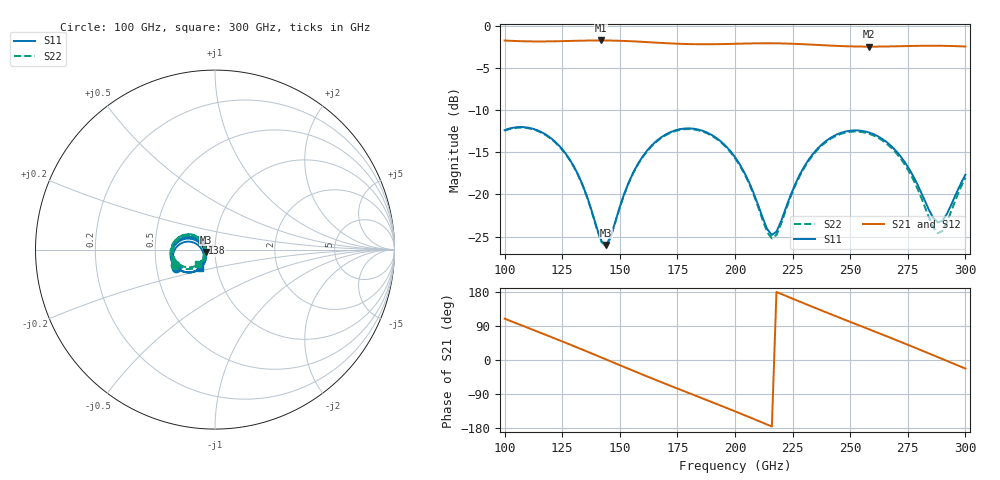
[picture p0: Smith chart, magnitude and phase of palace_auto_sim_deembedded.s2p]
! Created with skrf 1.11.0 (http://scikit-rf.org).
# GHz S DB R 50.0
!freq dBS11 angS11 dBS21 angS21 dBS12 angS12 dBS22 angS22
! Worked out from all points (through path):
!   101 points, 100 GHz to 300 GHz, reference 50 ohm
!   highest |S21| = -1.76 dB at 142 GHz (marker M1); lowest = -2.5 dB at 258 GHz (marker M2)
!   group delay of S21, straight-line fit = 6.83 ps
!   lowest |S11| = -26.0 dB at 144 GHz (marker M3), VSWR 1.11, Z = 45.4 - j1.16 ohm
!   |S11| at or under -10 dB: start of sweep to end of sweep
!   |S22| runs from -26.1 to -12.1 dB; largest |S21 - S12| = 9.3e-14
!   S11 on the Smith chart (normalised r, x): 100 GHz: 0.63, -0.14; 138 GHz: 0.87, +0.06; 300 GHz: 0.83, -0.17
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100  -12.39 -154.4  -1.76 109.1  -1.76 109.1  -12.45 -158.9
116  -12.62 174.3  -1.88 70.8  -1.88 70.8  -12.69 169.0
126  -14.98 156.8  -1.83 46.6  -1.83 46.6  -15.05 151.2
134  -18.96 149.1  -1.78 26.8  -1.78 26.8  -19.04 143.0
138  -22.11 153.4  -1.76 16.8  -1.76 16.8  -22.21 147.1
142  -25.51 175.2  -1.76 6.7  -1.76 6.7  -25.64 168.8
144  -26.00 -165.3  -1.76 1.6  -1.76 1.6  -26.13 -171.6
156  -17.31 -128.5  -1.87 -28.8  -1.87 -28.8  -17.39 -135.4
168  -13.23 -146.1  -2.05 -58.4  -2.05 -58.4  -13.31 -153.6
184  -12.31 -175.6  -2.20 -96.8  -2.20 -96.8  -12.40 176.1
200  -15.58 158.4  -2.15 -135.5  -2.15 -135.5  -15.69 148.9
208  -19.78 155.0  -2.11 -155.3  -2.11 -155.3  -19.95 144.8
216  -24.80 -169.6  -2.09 -175.4  -2.09 -175.4  -25.21 -179.4
224  -20.19 -130.2  -2.14 164.4  -2.14 164.4  -20.39 -139.3
234  -15.14 -134.8  -2.26 139.4  -2.26 139.4  -15.27 -144.9
246  -12.70 -153.9  -2.42 110.2  -2.42 110.2  -12.83 -165.0
258  -12.65 -174.7  -2.49 81.5  -2.49 81.5  -12.80 173.1
268  -14.31 169.6  -2.46 57.3  -2.46 57.3  -14.52 156.2
278  -18.16 161.8  -2.40 32.7  -2.40 32.7  -18.59 146.6
288  -23.32 -167.3  -2.39 7.7  -2.39 7.7  -24.60 179.9
292  -22.30 -144.0  -2.40 -2.4  -2.40 -2.4  -23.28 -153.1
300  -17.66 -129.7  -2.47 -22.5  -2.47 -22.5  -18.02 -139.6
